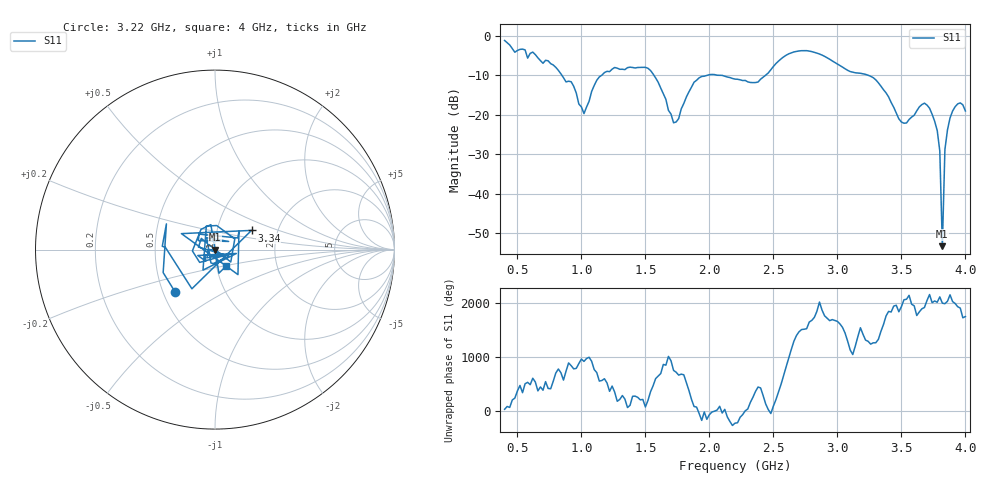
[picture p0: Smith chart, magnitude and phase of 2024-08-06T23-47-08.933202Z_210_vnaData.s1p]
!Created with skrf (http://scikit-rf.org).
# Hz S RI R 50.0
!freq ReS11 ImS11
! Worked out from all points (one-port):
!   181 points, 400 MHz to 4 GHz, reference 50 ohm
!   lowest |S11| = -53.3 dB at 3.82 GHz (marker M1), VSWR 1.00, Z = 49.8 - j0.0379 ohm
!   |S11| at or under -10 dB: 1.566 GHz to 1.986 GHz (419.9 MHz wide, 23.6 % of centre); 2.06 GHz to 2.439 GHz (379.9 MHz wide, 16.9 % of centre); 3.239 GHz to end of sweep (the widest 3 of 4)
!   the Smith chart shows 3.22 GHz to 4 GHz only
!   S11 on the Smith chart (normalised r, x): 3.22 GHz: 0.58, -0.31; 3.34 GHz: 1.47, +0.33; 4 GHz: 1.11, -0.21
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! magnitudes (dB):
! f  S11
! 400 MHz  -1.2
! 740 MHz  -6.4
! 860 MHz  -10.6
! 920 MHz  -11.7
! 1.02 GHz  -19.7
! 1.14 GHz  -10.4
! 1.3 GHz  -8.5
! 1.52 GHz  -8.2
! 1.6 GHz  -11.8
! 1.72 GHz  -22.1
! 1.76 GHz  -21.0
! 1.92 GHz  -10.7
! 2.2 GHz  -11.0
! 2.38 GHz  -11.7
! 2.66 GHz  -4.1
! 3.1 GHz  -9.1
! 3.22 GHz  -9.8
! 3.34 GHz  -12.8
! 3.5 GHz  -21.9
! 3.56 GHz  -21.2
! 3.68 GHz  -17.1
! 3.78 GHz  -24.0
! 3.8 GHz  -29.2
! 3.82 GHz  -53.3
! 3.84 GHz  -28.8
! 3.86 GHz  -23.9
! 3.94 GHz  -17.3
! 4 GHz  -19.1
